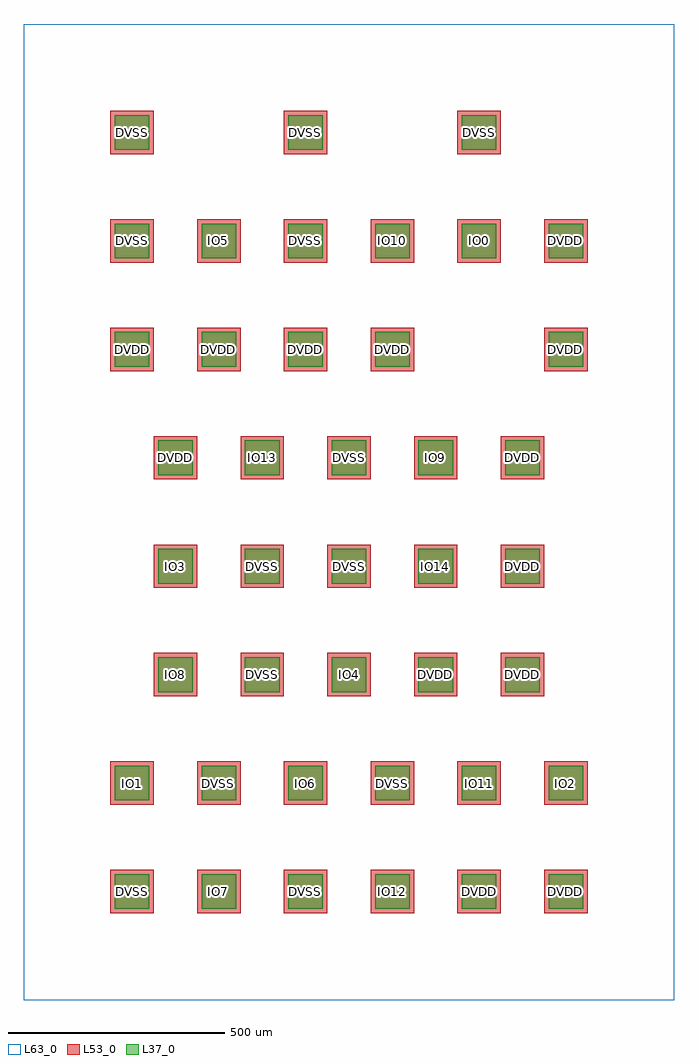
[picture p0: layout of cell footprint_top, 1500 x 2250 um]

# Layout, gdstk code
import gdstk
lib = gdstk.Library(unit=1e-6, precision=1e-09)
def R(c, l, rs):  # rectangles x0, y0, x1, y1
    for r in rs: c.add(gdstk.rectangle(r[:2], r[2:], *l))
L37_0 = (37, 0)
L53_0 = (53, 0)
L63_0 = (63, 0)

regular_polygon_c0895cd4 = lib.new_cell('regular_polygon_c0895cd4')
R(regular_polygon_c0895cd4, L53_0, [(-50,-50,50,50)])

regular_polygon_5e1d6490 = lib.new_cell('regular_polygon_5e1d6490')
R(regular_polygon_5e1d6490, L37_0, [(-40,-40,40,40)])

interposer_pad_54a612de = lib.new_cell('interposer_pad_54a612de')
interposer_pad_54a612de.add(gdstk.Reference(regular_polygon_c0895cd4, (0,0)))
interposer_pad_54a612de.add(gdstk.Reference(regular_polygon_5e1d6490, (0,0)))

footprint_top = lib.new_cell('footprint_top')
R(footprint_top, L63_0, [(0,-2250,1500,0)])
footprint_top.add(gdstk.Reference(interposer_pad_54a612de, (250,-250)))
footprint_top.add(gdstk.Reference(interposer_pad_54a612de, (650,-250)))
footprint_top.add(gdstk.Reference(interposer_pad_54a612de, (1050,-250)))
footprint_top.add(gdstk.Reference(interposer_pad_54a612de, (250,-500)))
footprint_top.add(gdstk.Reference(interposer_pad_54a612de, (650,-500)))
footprint_top.add(gdstk.Reference(interposer_pad_54a612de, (1050,-500)))
footprint_top.add(gdstk.Reference(interposer_pad_54a612de, (450,-500)))
footprint_top.add(gdstk.Reference(interposer_pad_54a612de, (850,-500)))
footprint_top.add(gdstk.Reference(interposer_pad_54a612de, (1250,-500)))
footprint_top.add(gdstk.Reference(interposer_pad_54a612de, (450,-750)))
footprint_top.add(gdstk.Reference(interposer_pad_54a612de, (850,-750)))
footprint_top.add(gdstk.Reference(interposer_pad_54a612de, (1250,-750)))
footprint_top.add(gdstk.Reference(interposer_pad_54a612de, (250,-1750)))
footprint_top.add(gdstk.Reference(interposer_pad_54a612de, (650,-1750)))
footprint_top.add(gdstk.Reference(interposer_pad_54a612de, (1050,-1750)))
footprint_top.add(gdstk.Reference(interposer_pad_54a612de, (250,-2000)))
footprint_top.add(gdstk.Reference(interposer_pad_54a612de, (650,-2000)))
footprint_top.add(gdstk.Reference(interposer_pad_54a612de, (1050,-2000)))
footprint_top.add(gdstk.Reference(interposer_pad_54a612de, (450,-1750)))
footprint_top.add(gdstk.Reference(interposer_pad_54a612de, (850,-1750)))
footprint_top.add(gdstk.Reference(interposer_pad_54a612de, (1250,-1750)))
footprint_top.add(gdstk.Reference(interposer_pad_54a612de, (450,-2000)))
footprint_top.add(gdstk.Reference(interposer_pad_54a612de, (850,-2000)))
footprint_top.add(gdstk.Reference(interposer_pad_54a612de, (1250,-2000)))
footprint_top.add(gdstk.Reference(interposer_pad_54a612de, (250,-750)))
footprint_top.add(gdstk.Reference(interposer_pad_54a612de, (650,-750)))
footprint_top.add(gdstk.Reference(interposer_pad_54a612de, (350,-1000)))
footprint_top.add(gdstk.Reference(interposer_pad_54a612de, (350,-1250)))
footprint_top.add(gdstk.Reference(interposer_pad_54a612de, (350,-1500)))
footprint_top.add(gdstk.Reference(interposer_pad_54a612de, (550,-1000)))
footprint_top.add(gdstk.Reference(interposer_pad_54a612de, (550,-1250)))
footprint_top.add(gdstk.Reference(interposer_pad_54a612de, (550,-1500)))
footprint_top.add(gdstk.Reference(interposer_pad_54a612de, (750,-1000)))
footprint_top.add(gdstk.Reference(interposer_pad_54a612de, (750,-1250)))
footprint_top.add(gdstk.Reference(interposer_pad_54a612de, (750,-1500)))
footprint_top.add(gdstk.Reference(interposer_pad_54a612de, (950,-1000)))
footprint_top.add(gdstk.Reference(interposer_pad_54a612de, (950,-1250)))
footprint_top.add(gdstk.Reference(interposer_pad_54a612de, (950,-1500)))
footprint_top.add(gdstk.Reference(interposer_pad_54a612de, (1150,-1000)))
footprint_top.add(gdstk.Reference(interposer_pad_54a612de, (1150,-1250)))
footprint_top.add(gdstk.Reference(interposer_pad_54a612de, (1150,-1500)))
footprint_top.add(gdstk.Label('DVSS', (250,-250), layer=53, texttype=10))
footprint_top.add(gdstk.Label('DVSS', (650,-250), layer=53, texttype=10))
footprint_top.add(gdstk.Label('DVSS', (1050,-250), layer=53, texttype=10))
footprint_top.add(gdstk.Label('DVSS', (250,-500), layer=53, texttype=10))
footprint_top.add(gdstk.Label('DVSS', (650,-500), layer=53, texttype=10))
footprint_top.add(gdstk.Label('IO0', (1050,-500), layer=53, texttype=10))
footprint_top.add(gdstk.Label('IO5', (450,-500), layer=53, texttype=10))
footprint_top.add(gdstk.Label('IO10', (850,-500), layer=53, texttype=10))
footprint_top.add(gdstk.Label('DVDD', (1250,-500), layer=53, texttype=10))
footprint_top.add(gdstk.Label('DVDD', (450,-750), layer=53, texttype=10))
footprint_top.add(gdstk.Label('DVDD', (850,-750), layer=53, texttype=10))
footprint_top.add(gdstk.Label('DVDD', (1250,-750), layer=53, texttype=10))
footprint_top.add(gdstk.Label('IO1', (250,-1750), layer=53, texttype=10))
footprint_top.add(gdstk.Label('IO6', (650,-1750), layer=53, texttype=10))
footprint_top.add(gdstk.Label('IO11', (1050,-1750), layer=53, texttype=10))
footprint_top.add(gdstk.Label('DVSS', (250,-2000), layer=53, texttype=10))
footprint_top.add(gdstk.Label('DVSS', (650,-2000), layer=53, texttype=10))
footprint_top.add(gdstk.Label('DVDD', (1050,-2000), layer=53, texttype=10))
footprint_top.add(gdstk.Label('DVSS', (450,-1750), layer=53, texttype=10))
footprint_top.add(gdstk.Label('DVSS', (850,-1750), layer=53, texttype=10))
footprint_top.add(gdstk.Label('IO2', (1250,-1750), layer=53, texttype=10))
footprint_top.add(gdstk.Label('IO7', (450,-2000), layer=53, texttype=10))
footprint_top.add(gdstk.Label('IO12', (850,-2000), layer=53, texttype=10))
footprint_top.add(gdstk.Label('DVDD', (1250,-2000), layer=53, texttype=10))
footprint_top.add(gdstk.Label('DVDD', (250,-750), layer=53, texttype=10))
footprint_top.add(gdstk.Label('DVDD', (650,-750), layer=53, texttype=10))
footprint_top.add(gdstk.Label('DVDD', (350,-1000), layer=53, texttype=10))
footprint_top.add(gdstk.Label('IO3', (350,-1250), layer=53, texttype=10))
footprint_top.add(gdstk.Label('IO8', (350,-1500), layer=53, texttype=10))
footprint_top.add(gdstk.Label('IO13', (550,-1000), layer=53, texttype=10))
footprint_top.add(gdstk.Label('DVSS', (550,-1250), layer=53, texttype=10))
footprint_top.add(gdstk.Label('DVSS', (550,-1500), layer=53, texttype=10))
footprint_top.add(gdstk.Label('DVSS', (750,-1000), layer=53, texttype=10))
footprint_top.add(gdstk.Label('DVSS', (750,-1250), layer=53, texttype=10))
footprint_top.add(gdstk.Label('IO4', (750,-1500), layer=53, texttype=10))
footprint_top.add(gdstk.Label('IO9', (950,-1000), layer=53, texttype=10))
footprint_top.add(gdstk.Label('IO14', (950,-1250), layer=53, texttype=10))
footprint_top.add(gdstk.Label('DVDD', (950,-1500), layer=53, texttype=10))
footprint_top.add(gdstk.Label('DVDD', (1150,-1000), layer=53, texttype=10))
footprint_top.add(gdstk.Label('DVDD', (1150,-1250), layer=53, texttype=10))
footprint_top.add(gdstk.Label('DVDD', (1150,-1500), layer=53, texttype=10))

lib.write_gds('footprint_top.gds')
